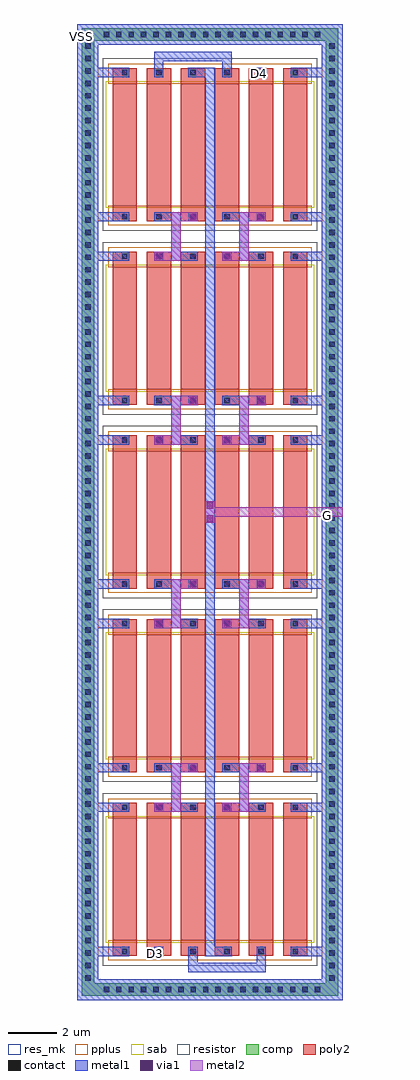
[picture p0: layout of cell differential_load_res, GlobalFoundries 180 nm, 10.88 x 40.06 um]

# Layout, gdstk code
from math import pi, radians
import gdstk
lib = gdstk.Library(unit=1e-6, precision=5e-09)
def R(c, l, rs):  # rectangles x0, y0, x1, y1
    for r in rs: c.add(gdstk.rectangle(r[:2], r[2:], *l))
def A(c, l, x, y, w, h, nx, ny, dx, dy):  # array of equal rectangles
    R(c, l, [(x+i*dx, y+j*dy, x+i*dx+w, y+j*dy+h) for i in range(nx) for j in range(ny)])
comp = (22, 0)
poly2 = (30, 0)
pplus = (31, 0)
contact = (33, 0)
metal1 = (34, 0)
via1 = (35, 0)
metal2 = (36, 0)
sab = (49, 0)
resistor = (62, 0)
res_mk = (110, 5)

res_cell = lib.new_cell('res_cell')
R(res_cell, poly2, [(0.4,0.4,6.68,1.4)])
R(res_cell, pplus, [(0.22,0.22,1.04,1.58), (6.04,0.22,6.86,1.58)])
R(res_cell, contact, [(0.47,0.79,0.69,1.01), (6.39,0.79,6.61,1.01)])
R(res_cell, metal1, [(0.39,0.71,0.77,1.09), (6.31,0.71,6.69,1.09)])
R(res_cell, sab, [(0.94,0.12,6.14,1.68)])
R(res_cell, resistor, [(0,0,7.08,1.8)])
R(res_cell, res_mk, [(1.04,0.4,6.04,1.4)])

differential_load_res = lib.new_cell('differential_load_res')
R(differential_load_res, pplus, [(1.26,1.63,9.62,2.45), (1.26,7.45,9.62,8.27), (1.26,9.17,9.62,9.99), (1.26,14.99,9.62,15.81), (1.26,16.71,9.62,17.53), (1.26,22.53,9.62,23.35), (1.26,24.25,9.62,25.07), (1.26,30.07,9.62,30.89), (1.26,31.79,9.62,32.61), (1.26,37.61,9.62,38.43)])
A(differential_load_res, contact, 1.075, 0.32, 0.22, 0.22, 18, 2, 0.51, 39.2)
A(differential_load_res, contact, 0.32, 0.795, 0.22, 0.22, 1, 76, 0, 0.51)
A(differential_load_res, contact, 10.34, 0.795, 0.22, 0.22, 1, 76, 0, 0.51)
A(differential_load_res, contact, 3.23, 7.8, 0.22, 0.22, 1, 4, 0, 7.54)
A(differential_load_res, contact, 6.03, 7.8, 0.22, 0.22, 1, 4, 0, 7.54)
A(differential_load_res, via1, 3.21, 7.78, 0.26, 0.26, 1, 4, 0, 7.54)
A(differential_load_res, via1, 6.01, 7.78, 0.26, 0.26, 1, 4, 0, 7.54)
A(differential_load_res, via1, 4.61, 9.4, 0.26, 0.26, 1, 4, 0, 7.54)
A(differential_load_res, via1, 7.41, 9.4, 0.26, 0.26, 1, 4, 0, 7.54)
R(differential_load_res, via1, [(5.31,19.64,5.57,19.9), (5.31,20.16,5.57,20.42)])
differential_load_res.add(gdstk.FlexPath([(6.33,38.73),(3.15,38.73)], 0.38, ends="flush", simple_path=True, layer=34, datatype=0))  # metal1
differential_load_res.add(gdstk.FlexPath([(6.14,38.26),(6.14,38.92)], 0.38, ends="flush", simple_path=True, layer=34, datatype=0))  # metal1
differential_load_res.add(gdstk.FlexPath([(3.34,38.26),(3.34,38.92)], 0.38, ends="flush", simple_path=True, layer=34, datatype=0))  # metal1
differential_load_res.add(gdstk.FlexPath([(0.86,39.63),(10.45,39.63),(10.45,0.43),(0.43,0.43),(0.43,40.06)], 0.86, ends="flush", simple_path=True, layer=34, datatype=0))  # metal1
differential_load_res.add(gdstk.FlexPath([(7.73,1.33),(4.55,1.33)], 0.38, ends="flush", simple_path=True, layer=34, datatype=0))  # metal1
differential_load_res.add(gdstk.FlexPath([(5.95,24.61),(6.84,24.61),(6.84,22.99),(7.73,22.99)], 0.38, ends="flush", simple_path=True, layer=34, datatype=0))  # metal1
differential_load_res.add(gdstk.FlexPath([(3.15,24.61),(4.04,24.61),(4.04,22.99),(4.93,22.99)], 0.38, ends="flush", simple_path=True, layer=34, datatype=0))  # metal1
differential_load_res.add(gdstk.FlexPath([(5.95,32.15),(6.84,32.15),(6.84,30.53),(7.73,30.53)], 0.38, ends="flush", simple_path=True, layer=34, datatype=0))  # metal1
differential_load_res.add(gdstk.FlexPath([(3.15,32.15),(4.04,32.15),(4.04,30.53),(4.93,30.53)], 0.38, ends="flush", simple_path=True, layer=34, datatype=0))  # metal1
differential_load_res.add(gdstk.FlexPath([(5.95,9.53),(6.84,9.53),(6.84,7.91),(7.73,7.91)], 0.38, ends="flush", simple_path=True, layer=34, datatype=0))  # metal1
differential_load_res.add(gdstk.FlexPath([(3.15,9.53),(4.04,9.53),(4.04,7.91),(4.93,7.91)], 0.38, ends="flush", simple_path=True, layer=34, datatype=0))  # metal1
differential_load_res.add(gdstk.FlexPath([(3.15,17.07),(4.04,17.07),(4.04,15.45),(4.93,15.45)], 0.38, ends="flush", simple_path=True, layer=34, datatype=0))  # metal1
differential_load_res.add(gdstk.FlexPath([(7.54,1.8),(7.54,1.14)], 0.38, ends="flush", simple_path=True, layer=34, datatype=0))  # metal1
differential_load_res.add(gdstk.FlexPath([(4.74,1.8),(4.74,1.14)], 0.38, ends="flush", simple_path=True, layer=34, datatype=0))  # metal1
differential_load_res.add(gdstk.FlexPath([(1.75,38.07),(0.86,38.07)], 0.38, ends="flush", simple_path=True, layer=34, datatype=0))  # metal1
differential_load_res.add(gdstk.FlexPath([(1.75,32.15),(0.86,32.15)], 0.38, ends="flush", simple_path=True, layer=34, datatype=0))  # metal1
differential_load_res.add(gdstk.FlexPath([(1.75,30.53),(0.86,30.53)], 0.38, ends="flush", simple_path=True, layer=34, datatype=0))  # metal1
differential_load_res.add(gdstk.FlexPath([(1.75,24.61),(0.86,24.61)], 0.38, ends="flush", simple_path=True, layer=34, datatype=0))  # metal1
differential_load_res.add(gdstk.FlexPath([(1.75,22.99),(0.86,22.99)], 0.38, ends="flush", simple_path=True, layer=34, datatype=0))  # metal1
differential_load_res.add(gdstk.FlexPath([(1.75,17.07),(0.86,17.07)], 0.38, ends="flush", simple_path=True, layer=34, datatype=0))  # metal1
differential_load_res.add(gdstk.FlexPath([(1.75,15.45),(0.86,15.45)], 0.38, ends="flush", simple_path=True, layer=34, datatype=0))  # metal1
differential_load_res.add(gdstk.FlexPath([(1.75,9.53),(0.86,9.53)], 0.38, ends="flush", simple_path=True, layer=34, datatype=0))  # metal1
differential_load_res.add(gdstk.FlexPath([(1.75,7.91),(0.86,7.91)], 0.38, ends="flush", simple_path=True, layer=34, datatype=0))  # metal1
differential_load_res.add(gdstk.FlexPath([(1.75,1.99),(0.86,1.99)], 0.38, ends="flush", simple_path=True, layer=34, datatype=0))  # metal1
differential_load_res.add(gdstk.FlexPath([(10.02,38.07),(9.13,38.07)], 0.38, ends="flush", simple_path=True, layer=34, datatype=0))  # metal1
differential_load_res.add(gdstk.FlexPath([(10.02,32.15),(9.13,32.15)], 0.38, ends="flush", simple_path=True, layer=34, datatype=0))  # metal1
differential_load_res.add(gdstk.FlexPath([(10.02,30.53),(9.13,30.53)], 0.38, ends="flush", simple_path=True, layer=34, datatype=0))  # metal1
differential_load_res.add(gdstk.FlexPath([(10.02,24.61),(9.13,24.61)], 0.38, ends="flush", simple_path=True, layer=34, datatype=0))  # metal1
differential_load_res.add(gdstk.FlexPath([(10.02,22.99),(9.13,22.99)], 0.38, ends="flush", simple_path=True, layer=34, datatype=0))  # metal1
differential_load_res.add(gdstk.FlexPath([(10.02,17.07),(9.13,17.07)], 0.38, ends="flush", simple_path=True, layer=34, datatype=0))  # metal1
differential_load_res.add(gdstk.FlexPath([(10.02,15.45),(9.13,15.45)], 0.38, ends="flush", simple_path=True, layer=34, datatype=0))  # metal1
differential_load_res.add(gdstk.FlexPath([(10.02,9.53),(9.13,9.53)], 0.38, ends="flush", simple_path=True, layer=34, datatype=0))  # metal1
differential_load_res.add(gdstk.FlexPath([(10.02,7.91),(9.13,7.91)], 0.38, ends="flush", simple_path=True, layer=34, datatype=0))  # metal1
differential_load_res.add(gdstk.FlexPath([(10.02,1.99),(9.13,1.99)], 0.38, ends="flush", simple_path=True, layer=34, datatype=0))  # metal1
differential_load_res.add(gdstk.FlexPath([(5.95,17.07),(6.84,17.07),(6.84,15.45),(7.73,15.45)], 0.38, ends="flush", simple_path=True, layer=34, datatype=0))  # metal1
differential_load_res.add(gdstk.FlexPath([(5.95,1.99),(5.44,1.99),(5.44,38.07),(4.93,38.07)], 0.38, ends="flush", simple_path=True, layer=34, datatype=0))  # metal1
differential_load_res.add(gdstk.FlexPath([(0.86,39.63),(10.45,39.63),(10.45,0.43),(0.43,0.43),(0.43,40.06)], 0.86, ends="flush", simple_path=True, layer=31, datatype=0))  # pplus
differential_load_res.add(gdstk.FlexPath([(0.68,39.63),(10.45,39.63),(10.45,0.43),(0.43,0.43),(0.43,39.88)], 0.5, ends="flush", simple_path=True, layer=22, datatype=0))  # comp
differential_load_res.add(gdstk.FlexPath([(10.88,20.03),(5.25,20.03)], 0.38, ends="flush", simple_path=True, layer=36, datatype=0))  # metal2
differential_load_res.add(gdstk.FlexPath([(5.44,19.58),(5.44,20.48)], 0.38, ends="flush", simple_path=True, layer=36, datatype=0))  # metal2
differential_load_res.add(gdstk.FlexPath([(5.95,22.99),(6.84,22.99),(6.84,24.61),(7.73,24.61)], 0.38, ends="flush", simple_path=True, layer=36, datatype=0))  # metal2
differential_load_res.add(gdstk.FlexPath([(3.15,22.99),(4.04,22.99),(4.04,24.61),(4.93,24.61)], 0.38, ends="flush", simple_path=True, layer=36, datatype=0))  # metal2
differential_load_res.add(gdstk.FlexPath([(5.95,30.53),(6.84,30.53),(6.84,32.15),(7.73,32.15)], 0.38, ends="flush", simple_path=True, layer=36, datatype=0))  # metal2
differential_load_res.add(gdstk.FlexPath([(3.15,30.53),(4.04,30.53),(4.04,32.15),(4.93,32.15)], 0.38, ends="flush", simple_path=True, layer=36, datatype=0))  # metal2
differential_load_res.add(gdstk.FlexPath([(5.95,7.91),(6.84,7.91),(6.84,9.53),(7.73,9.53)], 0.38, ends="flush", simple_path=True, layer=36, datatype=0))  # metal2
differential_load_res.add(gdstk.FlexPath([(3.15,7.91),(4.04,7.91),(4.04,9.53),(4.93,9.53)], 0.38, ends="flush", simple_path=True, layer=36, datatype=0))  # metal2
differential_load_res.add(gdstk.FlexPath([(3.15,15.45),(4.04,15.45),(4.04,17.07),(4.93,17.07)], 0.38, ends="flush", simple_path=True, layer=36, datatype=0))  # metal2
differential_load_res.add(gdstk.FlexPath([(5.95,15.45),(6.84,15.45),(6.84,17.07),(7.73,17.07)], 0.38, ends="flush", simple_path=True, layer=36, datatype=0))  # metal2
differential_load_res.add(gdstk.Reference(res_cell, (2.84,31.57), rotation=pi/2))
differential_load_res.add(gdstk.Reference(res_cell, (4.24,31.57), rotation=pi/2))
differential_load_res.add(gdstk.Reference(res_cell, (5.64,31.57), rotation=pi/2))
differential_load_res.add(gdstk.Reference(res_cell, (7.04,31.57), rotation=pi/2))
differential_load_res.add(gdstk.Reference(res_cell, (8.44,31.57), rotation=pi/2))
differential_load_res.add(gdstk.Reference(res_cell, (9.84,31.57), rotation=pi/2))
differential_load_res.add(gdstk.Reference(res_cell, (2.84,24.03), rotation=pi/2))
differential_load_res.add(gdstk.Reference(res_cell, (4.24,24.03), rotation=pi/2))
differential_load_res.add(gdstk.Reference(res_cell, (5.64,24.03), rotation=pi/2))
differential_load_res.add(gdstk.Reference(res_cell, (7.04,24.03), rotation=pi/2))
differential_load_res.add(gdstk.Reference(res_cell, (8.44,24.03), rotation=pi/2))
differential_load_res.add(gdstk.Reference(res_cell, (9.84,24.03), rotation=pi/2))
differential_load_res.add(gdstk.Reference(res_cell, (2.84,16.49), rotation=pi/2))
differential_load_res.add(gdstk.Reference(res_cell, (4.24,16.49), rotation=pi/2))
differential_load_res.add(gdstk.Reference(res_cell, (5.64,16.49), rotation=pi/2))
differential_load_res.add(gdstk.Reference(res_cell, (7.04,16.49), rotation=pi/2))
differential_load_res.add(gdstk.Reference(res_cell, (8.44,16.49), rotation=pi/2))
differential_load_res.add(gdstk.Reference(res_cell, (9.84,16.49), rotation=pi/2))
differential_load_res.add(gdstk.Reference(res_cell, (2.84,8.95), rotation=pi/2))
differential_load_res.add(gdstk.Reference(res_cell, (4.24,8.95), rotation=pi/2))
differential_load_res.add(gdstk.Reference(res_cell, (5.64,8.95), rotation=pi/2))
differential_load_res.add(gdstk.Reference(res_cell, (7.04,8.95), rotation=pi/2))
differential_load_res.add(gdstk.Reference(res_cell, (8.44,8.95), rotation=pi/2))
differential_load_res.add(gdstk.Reference(res_cell, (9.84,8.95), rotation=pi/2))
differential_load_res.add(gdstk.Reference(res_cell, (2.84,1.41), rotation=pi/2))
differential_load_res.add(gdstk.Reference(res_cell, (4.24,1.41), rotation=pi/2))
differential_load_res.add(gdstk.Reference(res_cell, (5.64,1.41), rotation=pi/2))
differential_load_res.add(gdstk.Reference(res_cell, (7.04,1.41), rotation=pi/2))
differential_load_res.add(gdstk.Reference(res_cell, (8.44,1.41), rotation=pi/2))
differential_load_res.add(gdstk.Reference(res_cell, (9.84,1.41), rotation=pi/2))
differential_load_res.add(gdstk.Label('G', (10.25,19.87), layer=36, texttype=10))
differential_load_res.add(gdstk.Label('D3', (3.19,1.905), layer=34, texttype=10))
differential_load_res.add(gdstk.Label('D4', (7.465,38.03), layer=34, texttype=10))
differential_load_res.add(gdstk.Label('VSS', (0.18,39.55), layer=34, texttype=10))

lib.write_gds('differential_load_res.gds')
